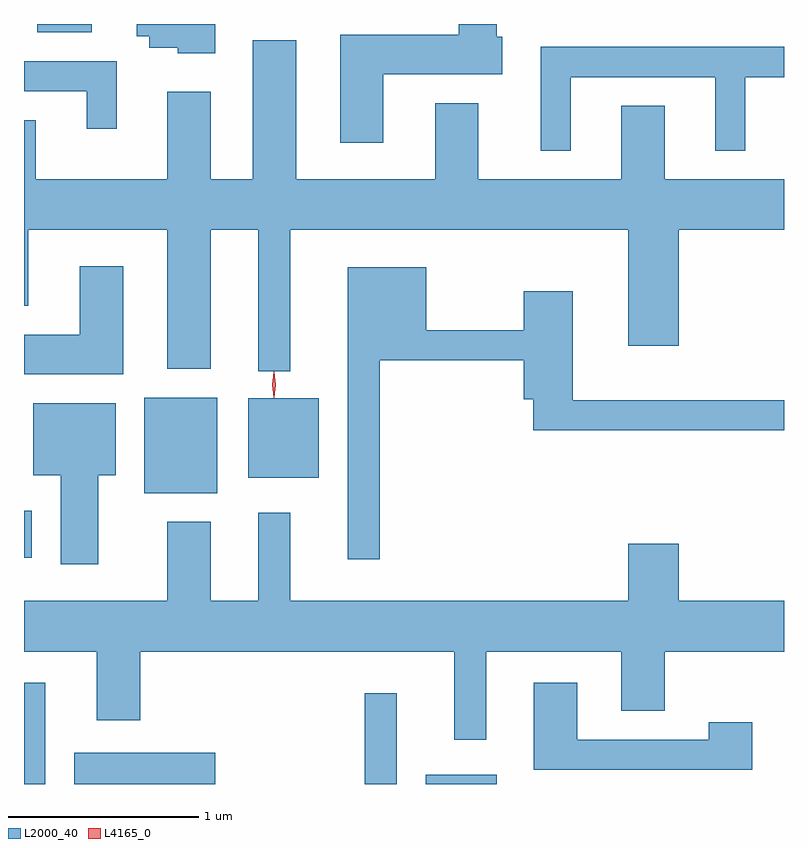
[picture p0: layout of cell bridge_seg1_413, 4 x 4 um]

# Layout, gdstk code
import gdstk
lib = gdstk.Library(unit=1e-6, precision=1e-09)
def R(c, l, rs):  # rectangles x0, y0, x1, y1
    for r in rs: c.add(gdstk.rectangle(r[:2], r[2:], *l))
def P(c, l, *ps):  # polygons
    for p in ps: c.add(gdstk.Polygon(p, *l))
L2000_40 = (2000, 40)
L4165_0 = (4165, 0)

bridge_seg1_413 = lib.new_cell('bridge_seg1_413')
R(bridge_seg1_413, L2000_40, [(331.777,938.84,331.889,939.373), (332.041,938.84,332.784,939.004), (333.571,938.84,333.739,939.318), (333.891,938.84,334.264,938.889), (331.777,940.031,331.819,940.279), (332.411,940.371,332.794,940.874), (332.956,940.451,333.329,940.869), (331.846,942.796,332.134,942.84)])
P(bridge_seg1_413, L2000_40, [(333.669,942.576),(334.294,942.576),(334.294,942.774),(334.264,942.774),(334.264,942.84),(334.066,942.84),(334.066,942.784),(333.441,942.784),(333.441,942.216),(333.669,942.216)],
  [(332.784,942.84),(332.371,942.84),(332.371,942.776),(332.436,942.776),(332.436,942.716),(332.586,942.716),(332.586,942.686),(332.784,942.686)],
  [(333.179,941.756),(334.956,941.756),(334.956,941.146),(335.224,941.146),(335.224,941.756),(335.777,941.756),(335.777,942.024),(335.149,942.024),(335.149,942.409),(334.921,942.409),(334.921,942.024),(334.169,942.024),(334.169,942.424),(333.941,942.424),(333.941,942.024),(333.209,942.024),(333.209,942.754),(332.981,942.754),(332.981,942.024),(332.759,942.024),(332.759,942.484),(332.531,942.484),(332.531,942.024),(331.839,942.024),(331.839,942.334),(331.777,942.334),(331.777,941.356),(331.799,941.356),(331.799,941.756),(332.531,941.756),(332.531,941.026),(332.759,941.026),(332.759,941.756),(333.011,941.756),(333.011,941.013),(333.179,941.013)],
  [(334.654,942.561),(335.416,942.561),(335.416,942.173),(335.574,942.173),(335.574,942.561),(335.777,942.561),(335.777,942.719),(334.496,942.719),(334.496,942.173),(334.654,942.173)],
  [(332.264,942.644),(331.777,942.644),(331.777,942.486),(332.106,942.486),(332.106,942.288),(332.264,942.288)],
  [(332.299,941.564),(332.071,941.564),(332.071,941.204),(331.777,941.204),(331.777,940.996),(332.299,940.996)],
  [(333.649,941.071),(334.406,941.071),(334.406,940.866),(334.456,940.866),(334.456,940.701),(335.777,940.701),(335.777,940.859),(334.664,940.859),(334.664,941.434),(334.406,941.434),(334.406,941.229),(333.894,941.229),(333.894,941.559),(333.481,941.559),(333.481,940.023),(333.649,940.023)],
  [(332.169,940.466),(332.259,940.466),(332.259,940.844),(331.826,940.844),(331.826,940.466),(331.971,940.466),(331.971,939.996),(332.169,939.996)],
  [(334.209,939.536),(334.921,939.536),(334.921,939.226),(335.149,939.226),(335.149,939.536),(335.777,939.536),(335.777,939.804),(335.224,939.804),(335.224,940.104),(334.956,940.104),(334.956,939.804),(333.179,939.804),(333.179,940.268),(333.011,940.268),(333.011,939.804),(332.759,939.804),(332.759,940.219),(332.531,940.219),(332.531,939.804),(331.777,939.804),(331.777,939.536),(332.161,939.536),(332.161,939.176),(332.389,939.176),(332.389,939.536),(334.041,939.536),(334.041,939.073),(334.209,939.073)],
  [(335.609,939.164),(335.381,939.164),(335.381,939.074),(334.689,939.074),(334.689,939.374),(334.461,939.374),(334.461,938.916),(335.609,938.916)])
P(bridge_seg1_413, L4165_0, [(333.092,940.878),(333.083,940.942),(333.092,941.007),(333.093,941.007),(333.093,941.007),(333.103,940.942),(333.093,940.878),(333.093,940.878)],
  [(333.092,940.874),(333.083,940.942),(333.092,941.01),(333.093,941.01),(333.093,941.01),(333.103,940.942),(333.093,940.874),(333.093,940.874)])

lib.write_gds('bridge_seg1_413.gds')
